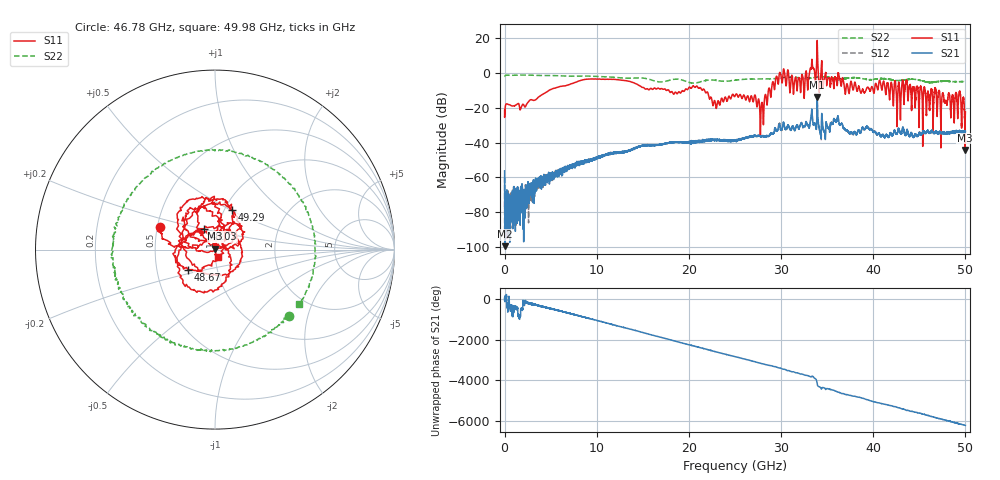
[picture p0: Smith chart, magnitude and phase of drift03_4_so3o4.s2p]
!Created with skrf (http://scikit-rf.org).
# Hz S RI R 50.0
!freq ReS11 ImS11 ReS21 ImS21 ReS12 ImS12 ReS22 ImS22
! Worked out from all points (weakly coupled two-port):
!   10001 points, 300 kHz to 50 GHz, reference 50 ohm
!   highest |S21| = -14.12 dB at 33.92 GHz (marker M1); lowest = -99.4 dB at 65.3 MHz (marker M2)
!   lowest |S11| = -44.3 dB at 49.95 GHz (marker M3), VSWR 1.01, Z = 50.1 + j0.596 ohm
!   |S11| at or under -10 dB: start of sweep to 4.85 GHz; 21.69 GHz to 28.63 GHz (6.933 GHz wide, 27.6 % of centre); 46.79 GHz to end of sweep (the widest 3 of 39)
!   |S22| runs from -5.9 to -1.3 dB; largest |S21 - S12| = 0.025
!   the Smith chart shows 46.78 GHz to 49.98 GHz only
!   S11 on the Smith chart (normalised r, x): 46.78 GHz: 0.52, +0.15; 48.03 GHz: 0.86, +0.20; 48.67 GHz: 0.72, -0.17; 49.29 GHz: 1.08, +0.51; 49.98 GHz: 1.03, -0.09
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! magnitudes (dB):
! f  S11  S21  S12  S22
! 300 kHz  -21.6  -56.2  -59.8  -2.1
! 65.3 MHz  -19.7  -99.4  -79.1  -1.6
! 570.3 MHz  -18.4  -77.2  -73.1  -1.5
! 8.335 GHz  -4.3  -51.8  -51.3  -1.9
! 16.67 GHz  -8.8  -41.5  -41.3  -5.2
! 21.02 GHz  -8.8  -39.3  -39.1  -5.5
! 22.81 GHz  -16.1  -38.9  -38.5  -4.2
! 25 GHz  -13.4  -38.3  -38.9  -4.3
! 27.91 GHz  -17.1  -36.2  -36.5  -3.5
! 29.69 GHz  -6.6  -32.2  -31.6  -3.1
! 32.32 GHz  -1.5  -30.5  -30.8  -3.3
! 33.34 GHz  7.5  -20.7  -21.1  -2.9
! 33.92 GHz  18.5  -14.1  -14.6  -2.5
! 37.17 GHz  -6.4  -32.9  -33.0  -3.1
! 41.67 GHz  -9.1  -36.8  -36.8  -3.7
! 46.78 GHz  -9.6  -33.7  -33.7  -5.1
! 48.03 GHz  -17.7  -34.0  -34.1  -4.8
! 48.67 GHz  -14.5  -33.9  -34.2  -5.1
! 49.29 GHz  -12.4  -33.9  -33.6  -5.2
! 49.95 GHz  -44.3  -33.7  -34.0  -5.0
! 49.98 GHz  -26.8  -34.1  -34.1  -5.1
! 50 GHz  -22.3  -33.6  -34.1  -5.0
